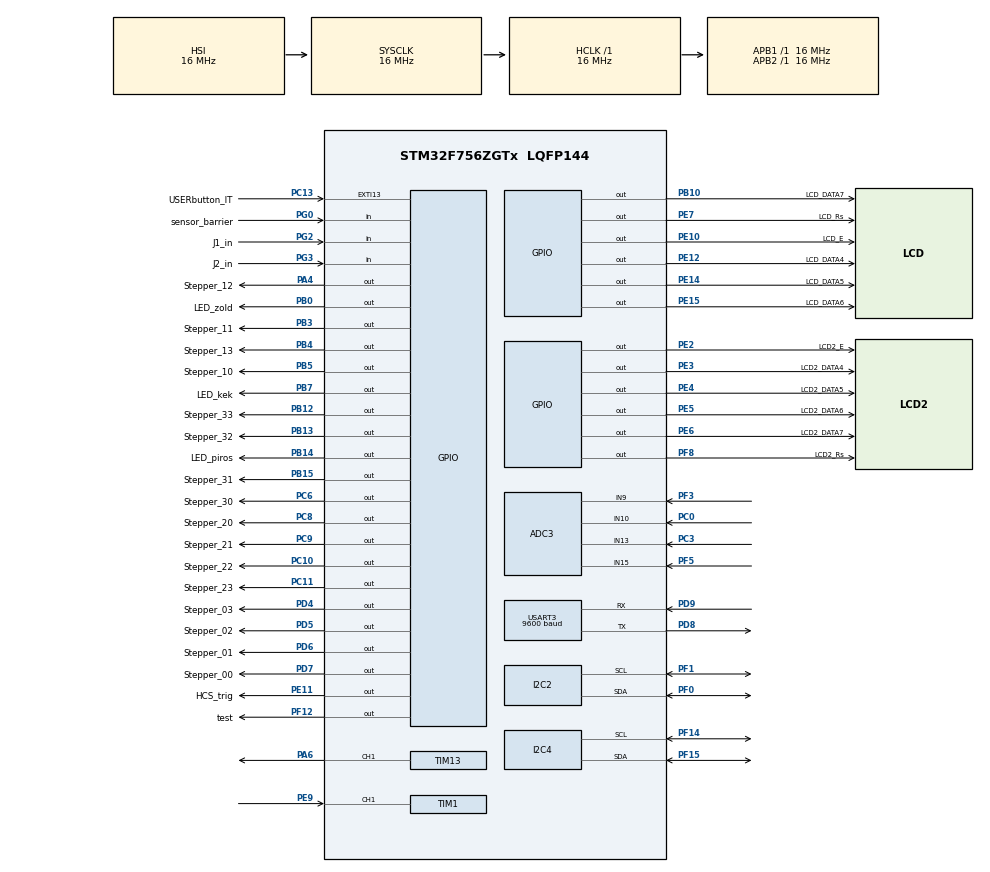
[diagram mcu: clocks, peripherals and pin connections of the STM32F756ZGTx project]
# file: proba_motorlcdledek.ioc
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ADC1.Channel-0\#ChannelRegularConversion=ADC_CHANNEL_TEMPSENSOR
ADC1.ClockPrescaler=ADC_CLOCK_SYNC_PCLK_DIV4
ADC1.ContinuousConvMode=DISABLE
ADC1.NbrOfConversion=1
ADC1.NbrOfConversionFlag=1
ADC1.Rank-0\#ChannelRegularConversion=1
ADC1.SamplingTime-0\#ChannelRegularConversion=ADC_SAMPLETIME_144CYCLES
ADC1.master=1
ADC3.Channel-30\#ChannelRegularConversion=ADC_CHANNEL_10
ADC3.Channel-31\#ChannelRegularConversion=ADC_CHANNEL_13
ADC3.Channel-32\#ChannelRegularConversion=ADC_CHANNEL_9
ADC3.Channel-33\#ChannelRegularConversion=ADC_CHANNEL_15
ADC3.ClockPrescaler=ADC_CLOCK_SYNC_PCLK_DIV4
ADC3.ContinuousConvMode=ENABLE
ADC3.DMAContinuousRequests=ENABLE
ADC3.NbrOfConversion=4
ADC3.NbrOfConversionFlag=1
ADC3.Rank-30\#ChannelRegularConversion=1
ADC3.Rank-31\#ChannelRegularConversion=2
ADC3.Rank-32\#ChannelRegularConversion=3
ADC3.Rank-33\#ChannelRegularConversion=4
ADC3.SamplingTime-30\#ChannelRegularConversion=ADC_SAMPLETIME_144CYCLES
ADC3.SamplingTime-31\#ChannelRegularConversion=ADC_SAMPLETIME_144CYCLES
ADC3.SamplingTime-32\#ChannelRegularConversion=ADC_SAMPLETIME_144CYCLES
ADC3.SamplingTime-33\#ChannelRegularConversion=ADC_SAMPLETIME_144CYCLES
ADC3.ScanConvMode=ADC_SCAN_ENABLE
Dma.ADC3.0.Direction=DMA_PERIPH_TO_MEMORY
Dma.ADC3.0.FIFOMode=DMA_FIFOMODE_DISABLE
Dma.ADC3.0.Instance=DMA2_Stream1
Dma.ADC3.0.MemDataAlignment=DMA_MDATAALIGN_WORD
Dma.ADC3.0.MemInc=DMA_MINC_ENABLE
Dma.ADC3.0.Mode=DMA_CIRCULAR
Dma.ADC3.0.PeriphDataAlignment=DMA_PDATAALIGN_WORD
Dma.ADC3.0.PeriphInc=DMA_PINC_DISABLE
Dma.ADC3.0.Priority=DMA_PRIORITY_LOW
Dma.Request0=ADC3
I2C2.Timing=0x00303D5B
I2C4.Timing=0x00303D5B
Mcu.Family=STM32F7
Mcu.Name=STM32F756ZGTx
Mcu.Package=LQFP144
NVIC.DMA2_Stream1_IRQn=true\:0\:0\:false\:false\:true\:false
NVIC.EXTI15_10_IRQn=true\:0\:0\:false\:false\:true\:true
NVIC.PriorityGroup=NVIC_PRIORITYGROUP_4
NVIC.TIM1_CC_IRQn=true\:0\:0\:false\:false\:true\:true
NVIC.TIM1_UP_TIM10_IRQn=true\:0\:0\:false\:false\:true\:true
NVIC.TIM2_IRQn=true\:0\:0\:false\:false\:true\:true
NVIC.TIM6_DAC_IRQn=true\:0\:0\:false\:false\:true\:true
NVIC.TIM7_IRQn=true\:0\:0\:false\:false\:true\:true
PA4.GPIO_Label=Stepper_12
PA4.GPIO_ModeDefaultOutputPP=GPIO_MODE_OUTPUT_OD
PA4.GPIO_PuPd=GPIO_PULLUP
PA4.Signal=GPIO_Output
PA6.Signal=S_TIM13_CH1
PB0.GPIO_Label=LED_zold
PB0.Signal=GPIO_Output
PB10.GPIO_Label=LCD_DATA7
PB10.Signal=GPIO_Output
PB12.GPIO_Label=Stepper_33
PB12.GPIO_ModeDefaultOutputPP=GPIO_MODE_OUTPUT_OD
PB12.GPIO_PuPd=GPIO_PULLUP
PB12.Signal=GPIO_Output
PB13.GPIO_Label=Stepper_32
PB13.GPIO_ModeDefaultOutputPP=GPIO_MODE_OUTPUT_OD
PB13.GPIO_PuPd=GPIO_PULLUP
PB13.Signal=GPIO_Output
PB14.GPIO_Label=LED_piros
PB14.Signal=GPIO_Output
PB15.GPIO_Label=Stepper_31
PB15.GPIO_ModeDefaultOutputPP=GPIO_MODE_OUTPUT_OD
PB15.GPIO_PuPd=GPIO_PULLUP
PB15.Signal=GPIO_Output
PB3.GPIO_Label=Stepper_11
PB3.GPIO_ModeDefaultOutputPP=GPIO_MODE_OUTPUT_OD
PB3.GPIO_PuPd=GPIO_PULLUP
PB3.Signal=GPIO_Output
PB4.GPIO_Label=Stepper_13
PB4.GPIO_ModeDefaultOutputPP=GPIO_MODE_OUTPUT_OD
PB4.GPIO_PuPd=GPIO_PULLUP
PB4.Signal=GPIO_Output
PB5.GPIO_Label=Stepper_10
PB5.GPIO_ModeDefaultOutputPP=GPIO_MODE_OUTPUT_OD
PB5.GPIO_PuPd=GPIO_PULLUP
PB5.Signal=GPIO_Output
PB7.GPIO_Label=LED_kek
PB7.Signal=GPIO_Output
PC0.Signal=ADCx_IN10
PC10.GPIO_Label=Stepper_22
PC10.GPIO_ModeDefaultOutputPP=GPIO_MODE_OUTPUT_OD
PC10.GPIO_PuPd=GPIO_PULLUP
PC10.Signal=GPIO_Output
PC11.GPIO_Label=Stepper_23
PC11.GPIO_ModeDefaultOutputPP=GPIO_MODE_OUTPUT_OD
PC11.GPIO_PuPd=GPIO_PULLUP
PC11.Signal=GPIO_Output
PC13.GPIO_Label=USERbutton_IT
PC13.Signal=GPXTI13
PC3.Signal=ADCx_IN13
PC6.GPIO_Label=Stepper_30
PC6.GPIO_ModeDefaultOutputPP=GPIO_MODE_OUTPUT_OD
PC6.GPIO_PuPd=GPIO_PULLUP
PC6.Signal=GPIO_Output
PC8.GPIO_Label=Stepper_20
PC8.GPIO_ModeDefaultOutputPP=GPIO_MODE_OUTPUT_OD
PC8.GPIO_PuPd=GPIO_PULLUP
PC8.Signal=GPIO_Output
PC9.GPIO_Label=Stepper_21
PC9.GPIO_ModeDefaultOutputPP=GPIO_MODE_OUTPUT_OD
PC9.GPIO_PuPd=GPIO_PULLUP
PC9.Signal=GPIO_Output
PD4.GPIO_Label=Stepper_03
PD4.GPIO_ModeDefaultOutputPP=GPIO_MODE_OUTPUT_OD
PD4.GPIO_PuPd=GPIO_PULLUP
PD4.Signal=GPIO_Output
PD5.GPIO_Label=Stepper_02
PD5.GPIO_ModeDefaultOutputPP=GPIO_MODE_OUTPUT_OD
PD5.GPIO_PuPd=GPIO_PULLUP
PD5.Signal=GPIO_Output
PD6.GPIO_Label=Stepper_01
PD6.GPIO_ModeDefaultOutputPP=GPIO_MODE_OUTPUT_OD
PD6.GPIO_PuPd=GPIO_PULLUP
PD6.Signal=GPIO_Output
PD7.GPIO_Label=Stepper_00
PD7.GPIO_ModeDefaultOutputPP=GPIO_MODE_OUTPUT_OD
PD7.GPIO_PuPd=GPIO_PULLUP
PD7.Signal=GPIO_Output
PD8.Mode=Asynchronous
PD8.Signal=USART3_TX
PD9.Mode=Asynchronous
PD9.Signal=USART3_RX
PE10.GPIO_Label=LCD_E
PE10.Signal=GPIO_Output
PE11.GPIO_Label=HCS_trig
PE11.Signal=GPIO_Output
PE12.GPIO_Label=LCD_DATA4
PE12.Signal=GPIO_Output
PE14.GPIO_Label=LCD_DATA5
PE14.Signal=GPIO_Output
PE15.GPIO_Label=LCD_DATA6
PE15.Signal=GPIO_Output
PE2.GPIO_Label=LCD2_E
PE2.Signal=GPIO_Output
PE3.GPIO_Label=LCD2_DATA4
PE3.Signal=GPIO_Output
PE4.GPIO_Label=LCD2_DATA5
PE4.Signal=GPIO_Output
PE5.GPIO_Label=LCD2_DATA6
PE5.Signal=GPIO_Output
PE6.GPIO_Label=LCD2_DATA7
PE6.Signal=GPIO_Output
PE7.GPIO_Label=LCD_Rs
PE7.Signal=GPIO_Output
PE9.Signal=S_TIM1_CH1
PF0.Mode=I2C
PF0.Signal=I2C2_SDA
PF1.Mode=I2C
PF1.Signal=I2C2_SCL
PF12.GPIO_Label=test
PF12.GPIO_ModeDefaultOutputPP=GPIO_MODE_OUTPUT_PP
PF12.GPIO_PuPd=GPIO_NOPULL
PF12.Signal=GPIO_Output
PF14.Mode=I2C
PF14.Signal=I2C4_SCL
PF15.Mode=I2C
PF15.Signal=I2C4_SDA
PF3.Mode=IN9
PF3.Signal=ADC3_IN9
PF5.Mode=IN15
PF5.Signal=ADC3_IN15
PF8.GPIO_Label=LCD2_Rs
PF8.Signal=GPIO_Output
PG0.GPIO_Label=sensor_barrier
PG0.Signal=GPIO_Input
PG2.GPIO_Label=J1_in
PG2.Signal=GPIO_Input
PG3.GPIO_Label=J2_in
PG3.Signal=GPIO_Input
ProjectManager.HeapSize=0x200
ProjectManager.StackSize=0x400
ProjectManager.TargetToolchain=TrueSTUDIO
RCC.AHBFreq_Value=16000000
RCC.APB1Freq_Value=16000000
RCC.APB1TimFreq_Value=16000000
RCC.APB2Freq_Value=16000000
RCC.APB2TimFreq_Value=16000000
RCC.CortexFreq_Value=16000000
RCC.HCLKFreq_Value=16000000
RCC.HSE_VALUE=25000000
RCC.HSI_VALUE=16000000
RCC.LSE_VALUE=32768
RCC.SYSCLKFreq_VALUE=16000000
RCC.USBFreq_Value=96000000
RCC.VCOOutputFreq_Value=192000000
SH.ADCx_IN10.0=ADC3_IN10,IN10
SH.ADCx_IN13.0=ADC3_IN13,IN13
SH.S_TIM13_CH1.0=TIM13_CH1,PWM Generation1 CH1
SH.S_TIM1_CH1.0=TIM1_CH1,Input_Capture1_from_TI1
TIM1.Channel-Input_Capture1_from_TI1=TIM_CHANNEL_1
TIM1.Period=0xFFFF-1
TIM1.Prescaler=16-1
TIM10.Period=99
TIM10.Prescaler=799
TIM13.Channel=TIM_CHANNEL_1
TIM13.Period=199
TIM13.Prescaler=1599
TIM2.Period=399
TIM2.Prescaler=39999
TIM6.Period=99
TIM6.Prescaler=1599
TIM7.Period=99
TIM7.Prescaler=799
USART3.BaudRate=9600
USART3.VirtualMode-Asynchronous=VM_ASYNC
VP_ADC1_TempSens_Input.Mode=IN-TempSens
VP_TIM10_VS_ClockSourceINT.Mode=Enable_Timer
VP_TIM13_VS_ClockSourceINT.Mode=Enable_Timer
VP_TIM2_VS_ClockSourceINT.Mode=Internal
VP_TIM6_VS_ClockSourceINT.Mode=Enable_Timer
VP_TIM7_VS_ClockSourceINT.Mode=Enable_Timer
board=custom

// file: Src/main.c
/* USER CODE BEGIN Header */
/**
  ******************************************************************************
  * @file           : main.c
  * @brief          : Main program body
  ******************************************************************************
  ** This notice applies to any and all portions of this file
  * that are not between comment pairs USER CODE BEGIN and
  * USER CODE END. Other portions of this file, whether
  * inserted by the user or by software development tools
  * are owned by their respective copyright owners.
  *
  * COPYRIGHT(c) 2020 STMicroelectronics
  *
  * Redistribution and use in source and binary forms, with or without modification,
  * are permitted provided that the following conditions are met:
  *   1. Redistributions of source code must retain the above copyright notice,
  *      this list of conditions and the following disclaimer.
  *   2. Redistributions in binary form must reproduce the above copyright notice,
  *      this list of conditions and the following disclaimer in the documentation
  *      and/or other materials provided with the distribution.
  *   3. Neither the name of STMicroelectronics nor the names of its contributors
  *      may be used to endorse or promote products derived from this software
  *      without specific prior written permission.
  *
  * THIS SOFTWARE IS PROVIDED BY THE COPYRIGHT HOLDERS AND CONTRIBUTORS "AS IS"
  * AND ANY EXPRESS OR IMPLIED WARRANTIES, INCLUDING, BUT NOT LIMITED TO, THE
  * IMPLIED WARRANTIES OF MERCHANTABILITY AND FITNESS FOR A PARTICULAR PURPOSE ARE
  * DISCLAIMED. IN NO EVENT SHALL THE COPYRIGHT HOLDER OR CONTRIBUTORS BE LIABLE
  * FOR ANY DIRECT, INDIRECT, INCIDENTAL, SPECIAL, EXEMPLARY, OR CONSEQUENTIAL
  * DAMAGES (INCLUDING, BUT NOT LIMITED TO, PROCUREMENT OF SUBSTITUTE GOODS OR
  * SERVICES; LOSS OF USE, DATA, OR PROFITS; OR BUSINESS INTERRUPTION) HOWEVER
  * CAUSED AND ON ANY THEORY OF LIABILITY, WHETHER IN CONTRACT, STRICT LIABILITY,
  * OR TORT (INCLUDING NEGLIGENCE OR OTHERWISE) ARISING IN ANY WAY OUT OF THE USE
  * OF THIS SOFTWARE, EVEN IF ADVISED OF THE POSSIBILITY OF SUCH DAMAGE.
  *
  ******************************************************************************
  */
/* USER CODE END Header */

#include "main.h"

ADC_HandleTypeDef hadc1;
ADC_HandleTypeDef hadc3;
DMA_HandleTypeDef hdma_adc3;

I2C_HandleTypeDef hi2c2;
I2C_HandleTypeDef hi2c4;

TIM_HandleTypeDef htim1;
TIM_HandleTypeDef htim2;
TIM_HandleTypeDef htim6;
TIM_HandleTypeDef htim7;
TIM_HandleTypeDef htim10;
TIM_HandleTypeDef htim13;

UART_HandleTypeDef huart3;

/* USER CODE BEGIN PV */
//uint32_t adc_data[2] = {0,0};
bool flag_00 = 0, flag_01 = 0, flag_02 = 0, flag_03 = 0, flag_04 = 0;
bool flag_10 = 0, flag_11 = 0, flag_12 = 0, flag_13 = 0, flag_14 = 0;
bool flag_20 = 0, flag_21 = 0, flag_22 = 0, flag_23 = 0, flag_24 = 0;
uint32_t adcdata[4] = {0,0,0,0};
/* USER CODE END PV */

void SystemClock_Config(void);
static void MX_GPIO_Init(void);
static void MX_DMA_Init(void);
static void MX_ADC1_Init(void);
static void MX_TIM2_Init(void);
static void MX_TIM13_Init(void);
static void MX_I2C2_Init(void);
static void MX_I2C4_Init(void);
static void MX_ADC3_Init(void);
static void MX_TIM6_Init(void);
static void MX_TIM7_Init(void);
static void MX_TIM10_Init(void);
static void MX_USART3_UART_Init(void);
static void MX_TIM1_Init(void);

/* USER CODE BEGIN 0 */

/*
void irany0(void);
void irany1(void);
*/
/* USER CODE END 0 */

int main(void)
{
  /* USER CODE BEGIN 1 */
	//uint8_t helo = 0;
	//uint8_t i = 20;
	uint32_t adc_mcutemp = 0;
	float mcutemp = 0;
	char buffer_mcutemp[10];
	float coordinate[3] = {0.0,0.0,0.0};

	char uart_buffer_tx[20] = "helo helo";
	char uartbuffer_x[10], uartbuffer_y[10], uartbuffer_z[10];
	//uint32_t adc_data_read[2] = {0,0};

  /* USER CODE END 1 */

  /* MCU Configuration--------------------------------------------------------*/

  /* Reset of all peripherals, Initializes the Flash interface and the Systick. */
  HAL_Init();

  /* Configure the system clock */
  SystemClock_Config();

  /* Initialize all configured peripherals */
  MX_GPIO_Init();
  MX_DMA_Init();
  MX_ADC1_Init();
  MX_TIM2_Init();
  MX_TIM13_Init();
  MX_I2C2_Init();
  MX_I2C4_Init();
  MX_ADC3_Init();
  MX_TIM6_Init();
  MX_TIM7_Init();
  MX_TIM10_Init();
  MX_USART3_UART_Init();
  MX_TIM1_Init();
  /* USER CODE BEGIN 2 */
  HAL_ADC_Start(&hadc1);
  HAL_ADC_Start_DMA(&hadc3,adcdata,4);
  LCD_init_customcurzor(1,0);
  LCD2_init_customcurzor2(1,0);

  HAL_TIM_Base_Start_IT(&htim2);
  HAL_TIM_Base_Start_IT(&htim6);
  HAL_TIM_Base_Start_IT(&htim7);
  HAL_TIM_Base_Start_IT(&htim10);

  HAL_TIM_PWM_Start(&htim13,TIM_CHANNEL_1);

  MPU6050_init();

  //HAL_Delay(500);

  //LCD_command(0x01);
 //LCD_string("na ez");

  LCD1_test();
  LCD2_test();

  LCD_goto(1,0);
  LCD_string("Joy1 ");
  LCD_goto(2,0);
  LCD_string("Joy2 ");

  HAL_UART_Transmit(&huart3,uart_buffer_tx,sizeof(uart_buffer_tx),1000);
  uart_newrow();
  /* USER CODE END 2 */

  /* Infinite loop */
  /* USER CODE BEGIN WHILE */
  while (1)
  {
	  __HAL_TIM_SetCompare(&htim13,TIM_CHANNEL_1,5);
	//irany1();
	// irany0();
	  /*
	  HAL_ADC_Start(&hadc1);
	 	  HAL_ADC_Start(&hadc3);
	 	  adc_data_read[0] = HAL_ADC_GetValue(&hadc1);
	 	  adc_data_read[1] = HAL_ADC_GetValue(&hadc3);
	  */
	  LCD_goto(1,6);
	  LCD_int(adcdata[0],sizeof(adcdata[0]));
	  LCD_goto(1,11);
	  LCD_int(adcdata[1],sizeof(adcdata[1]));
	  LCD_goto(2,6);
	  LCD_int(adcdata[2],sizeof(adcdata[2]));
  	  LCD_goto(2,11);
  	  LCD_int(adcdata[3],sizeof(adcdata[3]));

  	  adc_mcutemp = HAL_ADC_GetValue(&hadc1);
  	  mcutemp = ((((3.3/4096)*adc_mcutemp) - 0.76)/(2.5/1000)) + 25;
	  LCD2_goto2(1,0);
	  LCD2_string2("Servo: all");
	  LCD2_goto2(2,1);
	  ftoa(mcutemp,buffer_mcutemp,2);
	  LCD2_string2(buffer_mcutemp);

	  MPU_read_gyro(coordinate);
	  ftoa(coordinate[0],uartbuffer_x,4);
	  ftoa(coordinate[1],uartbuffer_y,4);
	  ftoa(coordinate[2],uartbuffer_z,4);

	  HAL_UART_Transmit(&huart3,"X coord.: ",sizeof("X coord.: "),1000);
	  HAL_UART_Transmit(&huart3,uartbuffer_x,sizeof(uartbuffer_x),1000);
	  HAL_UART_Transmit(&huart3,"\n\r",sizeof("\n\r"),1000);

	  HAL_UART_Transmit(&huart3,"Y coord.: ",sizeof("Y coord.: "),1000);
	  HAL_UART_Transmit(&huart3,uartbuffer_y,sizeof(uartbuffer_x),1000);
	  HAL_UART_Transmit(&huart3,"\n\r",sizeof("\n\r"),1000);

	  HAL_UART_Transmit(&huart3,"Z coord.: ",sizeof("Z coord.: "),1000);
	  HAL_UART_Transmit(&huart3,uartbuffer_z,sizeof(uartbuffer_x),1000);
	  HAL_UART_Transmit(&huart3,"\n\r",sizeof("\n\r"),1000);
	  uart_newrow();

	  if(HAL_GPIO_ReadPin(sensor_barrier_GPIO_Port,sensor_barrier_Pin) == 0){
		  LCD2_goto2(2,11);
		  LCD2_string2("megy");
	  }
	  else{
		  LCD2_goto2(2,11);
		  LCD2_string2("ment");
	  }
	  HAL_Delay(500);

	 // HAL_UART_Transmit(&huart3,uart_buffer_tx,sizeof(uart_buffer_tx),1000);
	 //__HAL_TIM_SetCompare(&htim13,TIM_CHANNEL_1,1);
	// HAL_Delay(1000);
	//__HAL_TIM_SetCompare(&htim13,TIM_CHANNEL_1,3);
	 //HAL_Delay(1000);
	 __HAL_TIM_SetCompare(&htim13,TIM_CHANNEL_1,5);
	  HAL_Delay(1000);
	 __HAL_TIM_SetCompare(&htim13,TIM_CHANNEL_1,25);
	  HAL_Delay(1000);
	// __HAL_TIM_SetCompare(&htim13,TIM_CHANNEL_1,15);
	// HAL_Delay(1000);
	// __HAL_TIM_SetCompare(&htim13,TIM_CHANNEL_1,0);
	// 	 HAL_Delay(1000);

	  /*
	  LCD_goto(1,5);
	  LCD_string("Helo");
	  LCD_goto(2,6);
	  LCD_string("belo");
*/
	  //HAL_Delay(1000);
	  //adc resz
	/*	  HAL_ADC_Start(&hadc1);
		  HAL_ADC_Start(&hadc3);
		  //LCD_command(0x01);
		  adc_data[0] = HAL_ADC_GetValue(&hadc1);
		  adc_data[1] = HAL_ADC_GetValue(&hadc3);

		  LCD_command(0x80);		//elso sor
		  LCD_int(adc_data[0],sizeof(adc_data[0]));

		  //LCD_string("akkor mehet");
		  LCD_command(0xC0);		//masodik sor
		  LCD_int(adc_data[1],sizeof(adc_data[1]));
		  HAL_Delay(2000);*/
/*
		 // LCD_string("talan?");
		  //LCD_data(adc_data[0]);

		  if(adc_data[0] >= 4000){	//elore
			  HAL_GPIO_WritePin(LED_piros_GPIO_Port,LED_piros_Pin,1);
			  HAL_GPIO_WritePin(LED_zold_GPIO_Port,LED_zold_Pin,0);
			  HAL_GPIO_WritePin(LED_kek_GPIO_Port,LED_kek_Pin,0);
		  }

		  if(adc_data[1] >= 4000){	//hatra
			  HAL_GPIO_WritePin(LED_piros_GPIO_Port,LED_piros_Pin,0);
			  HAL_GPIO_WritePin(LED_zold_GPIO_Port,LED_zold_Pin,1);
			  HAL_GPIO_WritePin(LED_kek_GPIO_Port,LED_kek_Pin,0);
		  }

		  if(adc_data[0] <= 800){		//jobbra
			  HAL_GPIO_WritePin(LED_piros_GPIO_Port,LED_piros_Pin,0);
			  HAL_GPIO_WritePin(LED_zold_GPIO_Port,LED_zold_Pin,0);
			  HAL_GPIO_WritePin(LED_kek_GPIO_Port,LED_kek_Pin,1);
		  }

		  if(adc_data[1] <= 800){		//jobbra
			  HAL_GPIO_WritePin(LED_piros_GPIO_Port,LED_piros_Pin,1);
			  HAL_GPIO_WritePin(LED_zold_GPIO_Port,LED_zold_Pin,1);
			  HAL_GPIO_WritePin(LED_kek_GPIO_Port,LED_kek_Pin,1);
		  }
		  if(adc_data[1] < 3200 && adc_data[1] > 3100 && adc_data[0] > 3100 && adc_data[0] < 3200){		//jobbra
			  HAL_GPIO_WritePin(LED_piros_GPIO_Port,LED_piros_Pin,0);
			  HAL_GPIO_WritePin(LED_zold_GPIO_Port,LED_zold_Pin,0);
			  HAL_GPIO_WritePin(LED_kek_GPIO_Port,LED_kek_Pin,0);
		  }

		 // HAL_Delay(1000);
		  if(adc_data[0] >= 4000){	//elore

			  }

			  if(adc_data[1] >= 4000){	//hatra

			  }

			  if(adc_data[0] <= 800){		//jobbra

			  }
			  if(adc_data[1] <= 800){		//jobbra

			  }

*/

    /* USER CODE END WHILE */

  }
}

void SystemClock_Config(void)
{
  RCC_OscInitTypeDef RCC_OscInitStruct = {0};
  RCC_ClkInitTypeDef RCC_ClkInitStruct = {0};
  RCC_PeriphCLKInitTypeDef PeriphClkInitStruct = {0};

  /**Configure the main internal regulator output voltage
  */
  __HAL_RCC_PWR_CLK_ENABLE();
  __HAL_PWR_VOLTAGESCALING_CONFIG(PWR_REGULATOR_VOLTAGE_SCALE3);
  /**Initializes the CPU, AHB and APB busses clocks
  */
  RCC_OscInitStruct.OscillatorType = RCC_OSCILLATORTYPE_HSI;
  RCC_OscInitStruct.HSIState = RCC_HSI_ON;
  RCC_OscInitStruct.HSICalibrationValue = RCC_HSICALIBRATION_DEFAULT;
  RCC_OscInitStruct.PLL.PLLState = RCC_PLL_NONE;
  if (HAL_RCC_OscConfig(&RCC_OscInitStruct) != HAL_OK)
  {
    Error_Handler();
  }
  /**Initializes the CPU, AHB and APB busses clocks
  */
  RCC_ClkInitStruct.ClockType = RCC_CLOCKTYPE_HCLK|RCC_CLOCKTYPE_SYSCLK
                              |RCC_CLOCKTYPE_PCLK1|RCC_CLOCKTYPE_PCLK2;
  RCC_ClkInitStruct.SYSCLKSource = RCC_SYSCLKSOURCE_HSI;
  RCC_ClkInitStruct.AHBCLKDivider = RCC_SYSCLK_DIV1;
  RCC_ClkInitStruct.APB1CLKDivider = RCC_HCLK_DIV1;
  RCC_ClkInitStruct.APB2CLKDivider = RCC_HCLK_DIV1;

  if (HAL_RCC_ClockConfig(&RCC_ClkInitStruct, FLASH_LATENCY_0) != HAL_OK)
  {
    Error_Handler();
  }
  PeriphClkInitStruct.PeriphClockSelection = RCC_PERIPHCLK_USART3|RCC_PERIPHCLK_I2C2
                              |RCC_PERIPHCLK_I2C4;
  PeriphClkInitStruct.Usart3ClockSelection = RCC_USART3CLKSOURCE_PCLK1;
  PeriphClkInitStruct.I2c2ClockSelection = RCC_I2C2CLKSOURCE_PCLK1;
  PeriphClkInitStruct.I2c4ClockSelection = RCC_I2C4CLKSOURCE_PCLK1;
  if (HAL_RCCEx_PeriphCLKConfig(&PeriphClkInitStruct) != HAL_OK)
  {
    Error_Handler();
  }
}

static void MX_ADC1_Init(void)
{

  ADC_ChannelConfTypeDef sConfig = {0};

  /**Configure the global features of the ADC (Clock, Resolution, Data Alignment and number of conversion)
  */
  hadc1.Instance = ADC1;
  hadc1.Init.ClockPrescaler = ADC_CLOCK_SYNC_PCLK_DIV4;
  hadc1.Init.Resolution = ADC_RESOLUTION_12B;
  hadc1.Init.ScanConvMode = ADC_SCAN_DISABLE;
  hadc1.Init.ContinuousConvMode = DISABLE;
  hadc1.Init.DiscontinuousConvMode = DISABLE;
  hadc1.Init.ExternalTrigConvEdge = ADC_EXTERNALTRIGCONVEDGE_NONE;
  hadc1.Init.ExternalTrigConv = ADC_SOFTWARE_START;
  hadc1.Init.DataAlign = ADC_DATAALIGN_RIGHT;
  hadc1.Init.NbrOfConversion = 1;
  hadc1.Init.DMAContinuousRequests = DISABLE;
  hadc1.Init.EOCSelection = ADC_EOC_SINGLE_CONV;
  if (HAL_ADC_Init(&hadc1) != HAL_OK)
  {
    Error_Handler();
  }
  /**Configure for the selected ADC regular channel its corresponding rank in the sequencer and its sample time.
  */
  sConfig.Channel = ADC_CHANNEL_TEMPSENSOR;
  sConfig.Rank = ADC_REGULAR_RANK_1;
  sConfig.SamplingTime = ADC_SAMPLETIME_144CYCLES;
  if (HAL_ADC_ConfigChannel(&hadc1, &sConfig) != HAL_OK)
  {
    Error_Handler();
  }

}

static void MX_ADC3_Init(void)
{

  ADC_ChannelConfTypeDef sConfig = {0};

  /**Configure the global features of the ADC (Clock, Resolution, Data Alignment and number of conversion)
  */
  hadc3.Instance = ADC3;
  hadc3.Init.ClockPrescaler = ADC_CLOCK_SYNC_PCLK_DIV4;
  hadc3.Init.Resolution = ADC_RESOLUTION_12B;
  hadc3.Init.ScanConvMode = ADC_SCAN_ENABLE;
  hadc3.Init.ContinuousConvMode = ENABLE;
  hadc3.Init.DiscontinuousConvMode = DISABLE;
  hadc3.Init.ExternalTrigConvEdge = ADC_EXTERNALTRIGCONVEDGE_NONE;
  hadc3.Init.ExternalTrigConv = ADC_SOFTWARE_START;
  hadc3.Init.DataAlign = ADC_DATAALIGN_RIGHT;
  hadc3.Init.NbrOfConversion = 4;
  hadc3.Init.DMAContinuousRequests = ENABLE;
  hadc3.Init.EOCSelection = ADC_EOC_SINGLE_CONV;
  if (HAL_ADC_Init(&hadc3) != HAL_OK)
  {
    Error_Handler();
  }
  /**Configure for the selected ADC regular channel its corresponding rank in the sequencer and its sample time.
  */
  sConfig.Channel = ADC_CHANNEL_10;
  sConfig.Rank = ADC_REGULAR_RANK_1;
  sConfig.SamplingTime = ADC_SAMPLETIME_144CYCLES;
  if (HAL_ADC_ConfigChannel(&hadc3, &sConfig) != HAL_OK)
  {
    Error_Handler();
  }
  /**Configure for the selected ADC regular channel its corresponding rank in the sequencer and its sample time.
  */
  sConfig.Channel = ADC_CHANNEL_13;
  sConfig.Rank = ADC_REGULAR_RANK_2;
  if (HAL_ADC_ConfigChannel(&hadc3, &sConfig) != HAL_OK)
  {
    Error_Handler();
  }
  /**Configure for the selected ADC regular channel its corresponding rank in the sequencer and its sample time.
  */
  sConfig.Channel = ADC_CHANNEL_9;
  sConfig.Rank = ADC_REGULAR_RANK_3;
  if (HAL_ADC_ConfigChannel(&hadc3, &sConfig) != HAL_OK)
  {
    Error_Handler();
  }
  /**Configure for the selected ADC regular channel its corresponding rank in the sequencer and its sample time.
  */
  sConfig.Channel = ADC_CHANNEL_15;
  sConfig.Rank = ADC_REGULAR_RANK_4;
  if (HAL_ADC_ConfigChannel(&hadc3, &sConfig) != HAL_OK)
  {
    Error_Handler();
  }

}

static void MX_I2C2_Init(void)
{

  hi2c2.Instance = I2C2;
  hi2c2.Init.Timing = 0x00303D5B;
  hi2c2.Init.OwnAddress1 = 0;
  hi2c2.Init.AddressingMode = I2C_ADDRESSINGMODE_7BIT;
  hi2c2.Init.DualAddressMode = I2C_DUALADDRESS_DISABLE;
  hi2c2.Init.OwnAddress2 = 0;
  hi2c2.Init.OwnAddress2Masks = I2C_OA2_NOMASK;
  hi2c2.Init.GeneralCallMode = I2C_GENERALCALL_DISABLE;
  hi2c2.Init.NoStretchMode = I2C_NOSTRETCH_DISABLE;
  if (HAL_I2C_Init(&hi2c2) != HAL_OK)
  {
    Error_Handler();
  }
  /**Configure Analogue filter
  */
  if (HAL_I2CEx_ConfigAnalogFilter(&hi2c2, I2C_ANALOGFILTER_ENABLE) != HAL_OK)
  {
    Error_Handler();
  }
  /**Configure Digital filter
  */
  if (HAL_I2CEx_ConfigDigitalFilter(&hi2c2, 0) != HAL_OK)
  {
    Error_Handler();
  }

}

static void MX_I2C4_Init(void)
{

  hi2c4.Instance = I2C4;
  hi2c4.Init.Timing = 0x00303D5B;
  hi2c4.Init.OwnAddress1 = 0;
  hi2c4.Init.AddressingMode = I2C_ADDRESSINGMODE_7BIT;
  hi2c4.Init.DualAddressMode = I2C_DUALADDRESS_DISABLE;
  hi2c4.Init.OwnAddress2 = 0;
  hi2c4.Init.OwnAddress2Masks = I2C_OA2_NOMASK;
  hi2c4.Init.GeneralCallMode = I2C_GENERALCALL_DISABLE;
  hi2c4.Init.NoStretchMode = I2C_NOSTRETCH_DISABLE;
  if (HAL_I2C_Init(&hi2c4) != HAL_OK)
  {
    Error_Handler();
  }
  /**Configure Analogue filter
  */
  if (HAL_I2CEx_ConfigAnalogFilter(&hi2c4, I2C_ANALOGFILTER_ENABLE) != HAL_OK)
  {
    Error_Handler();
  }
  /**Configure Digital filter
  */
  if (HAL_I2CEx_ConfigDigitalFilter(&hi2c4, 0) != HAL_OK)
  {
    Error_Handler();
  }

}

static void MX_TIM1_Init(void)
{

  TIM_MasterConfigTypeDef sMasterConfig = {0};
  TIM_IC_InitTypeDef sConfigIC = {0};

  htim1.Instance = TIM1;
  htim1.Init.Prescaler = 16-1;
  htim1.Init.CounterMode = TIM_COUNTERMODE_UP;
  htim1.Init.Period = 0xFFFF-1;
  htim1.Init.ClockDivision = TIM_CLOCKDIVISION_DIV1;
  htim1.Init.RepetitionCounter = 0;
  htim1.Init.AutoReloadPreload = TIM_AUTORELOAD_PRELOAD_DISABLE;
  if (HAL_TIM_IC_Init(&htim1) != HAL_OK)
  {
    Error_Handler();
  }
  sMasterConfig.MasterOutputTrigger = TIM_TRGO_RESET;
  sMasterConfig.MasterOutputTrigger2 = TIM_TRGO2_RESET;
  sMasterConfig.MasterSlaveMode = TIM_MASTERSLAVEMODE_DISABLE;
  if (HAL_TIMEx_MasterConfigSynchronization(&htim1, &sMasterConfig) != HAL_OK)
  {
    Error_Handler();
  }
  sConfigIC.ICPolarity = TIM_INPUTCHANNELPOLARITY_RISING;
  sConfigIC.ICSelection = TIM_ICSELECTION_DIRECTTI;
  sConfigIC.ICPrescaler = TIM_ICPSC_DIV1;
  sConfigIC.ICFilter = 0;
  if (HAL_TIM_IC_ConfigChannel(&htim1, &sConfigIC, TIM_CHANNEL_1) != HAL_OK)
  {
    Error_Handler();
  }

}

static void MX_TIM2_Init(void)
{

  TIM_ClockConfigTypeDef sClockSourceConfig = {0};
  TIM_MasterConfigTypeDef sMasterConfig = {0};

  htim2.Instance = TIM2;
  htim2.Init.Prescaler = 39999;
  htim2.Init.CounterMode = TIM_COUNTERMODE_UP;
  htim2.Init.Period = 399;
  htim2.Init.ClockDivision = TIM_CLOCKDIVISION_DIV1;
  htim2.Init.AutoReloadPreload = TIM_AUTORELOAD_PRELOAD_DISABLE;
  if (HAL_TIM_Base_Init(&htim2) != HAL_OK)
  {
    Error_Handler();
  }
  sClockSourceConfig.ClockSource = TIM_CLOCKSOURCE_INTERNAL;
  if (HAL_TIM_ConfigClockSource(&htim2, &sClockSourceConfig) != HAL_OK)
  {
    Error_Handler();
  }
  sMasterConfig.MasterOutputTrigger = TIM_TRGO_RESET;
  sMasterConfig.MasterSlaveMode = TIM_MASTERSLAVEMODE_DISABLE;
  if (HAL_TIMEx_MasterConfigSynchronization(&htim2, &sMasterConfig) != HAL_OK)
  {
    Error_Handler();
  }

}

static void MX_TIM6_Init(void)
{

  TIM_MasterConfigTypeDef sMasterConfig = {0};

  htim6.Instance = TIM6;
  htim6.Init.Prescaler = 1599;
  htim6.Init.CounterMode = TIM_COUNTERMODE_UP;
  htim6.Init.Period = 99;
  htim6.Init.AutoReloadPreload = TIM_AUTORELOAD_PRELOAD_DISABLE;
  if (HAL_TIM_Base_Init(&htim6) != HAL_OK)
  {
    Error_Handler();
  }
  sMasterConfig.MasterOutputTrigger = TIM_TRGO_RESET;
  sMasterConfig.MasterSlaveMode = TIM_MASTERSLAVEMODE_DISABLE;
  if (HAL_TIMEx_MasterConfigSynchronization(&htim6, &sMasterConfig) != HAL_OK)
  {
    Error_Handler();
  }

}

static void MX_TIM7_Init(void)
{

  TIM_MasterConfigTypeDef sMasterConfig = {0};

  htim7.Instance = TIM7;
  htim7.Init.Prescaler = 799;
  htim7.Init.CounterMode = TIM_COUNTERMODE_UP;
  htim7.Init.Period = 99;
  htim7.Init.AutoReloadPreload = TIM_AUTORELOAD_PRELOAD_DISABLE;
  if (HAL_TIM_Base_Init(&htim7) != HAL_OK)
  {
    Error_Handler();
  }
  sMasterConfig.MasterOutputTrigger = TIM_TRGO_RESET;
  sMasterConfig.MasterSlaveMode = TIM_MASTERSLAVEMODE_DISABLE;
  if (HAL_TIMEx_MasterConfigSynchronization(&htim7, &sMasterConfig) != HAL_OK)
  {
    Error_Handler();
  }

}

static void MX_TIM10_Init(void)
{

  htim10.Instance = TIM10;
  htim10.Init.Prescaler = 799;
  htim10.Init.CounterMode = TIM_COUNTERMODE_UP;
  htim10.Init.Period = 99;
  htim10.Init.ClockDivision = TIM_CLOCKDIVISION_DIV1;
  htim10.Init.AutoReloadPreload = TIM_AUTORELOAD_PRELOAD_DISABLE;
  if (HAL_TIM_Base_Init(&htim10) != HAL_OK)
  {
    Error_Handler();
  }

}

static void MX_TIM13_Init(void)
{

  TIM_OC_InitTypeDef sConfigOC = {0};

  htim13.Instance = TIM13;
  htim13.Init.Prescaler = 1599;
  htim13.Init.CounterMode = TIM_COUNTERMODE_UP;
  htim13.Init.Period = 199;
  htim13.Init.ClockDivision = TIM_CLOCKDIVISION_DIV1;
  htim13.Init.AutoReloadPreload = TIM_AUTORELOAD_PRELOAD_DISABLE;
  if (HAL_TIM_Base_Init(&htim13) != HAL_OK)
  {
    Error_Handler();
  }
  if (HAL_TIM_PWM_Init(&htim13) != HAL_OK)
  {
    Error_Handler();
  }
  sConfigOC.OCMode = TIM_OCMODE_PWM1;
  sConfigOC.Pulse = 0;
  sConfigOC.OCPolarity = TIM_OCPOLARITY_HIGH;
  sConfigOC.OCFastMode = TIM_OCFAST_DISABLE;
  if (HAL_TIM_PWM_ConfigChannel(&htim13, &sConfigOC, TIM_CHANNEL_1) != HAL_OK)
  {
    Error_Handler();
  }
  HAL_TIM_MspPostInit(&htim13);

}

static void MX_USART3_UART_Init(void)
{

  huart3.Instance = USART3;
  huart3.Init.BaudRate = 9600;
  huart3.Init.WordLength = UART_WORDLENGTH_8B;
  huart3.Init.StopBits = UART_STOPBITS_1;
  huart3.Init.Parity = UART_PARITY_NONE;
  huart3.Init.Mode = UART_MODE_TX_RX;
  huart3.Init.HwFlowCtl = UART_HWCONTROL_NONE;
  huart3.Init.OverSampling = UART_OVERSAMPLING_16;
  huart3.Init.OneBitSampling = UART_ONE_BIT_SAMPLE_DISABLE;
  huart3.AdvancedInit.AdvFeatureInit = UART_ADVFEATURE_NO_INIT;
  if (HAL_UART_Init(&huart3) != HAL_OK)
  {
    Error_Handler();
  }

}

static void MX_DMA_Init(void)
{
  /* DMA controller clock enable */
  __HAL_RCC_DMA2_CLK_ENABLE();

  /* DMA interrupt init */
  /* DMA2_Stream1_IRQn interrupt configuration */
  HAL_NVIC_SetPriority(DMA2_Stream1_IRQn, 0, 0);
  HAL_NVIC_EnableIRQ(DMA2_Stream1_IRQn);

}

static void MX_GPIO_Init(void)
{
  GPIO_InitTypeDef GPIO_InitStruct = {0};

  /* GPIO Ports Clock Enable */
  __HAL_RCC_GPIOE_CLK_ENABLE();
  __HAL_RCC_GPIOC_CLK_ENABLE();
  __HAL_RCC_GPIOF_CLK_ENABLE();
  __HAL_RCC_GPIOA_CLK_ENABLE();
  __HAL_RCC_GPIOB_CLK_ENABLE();
  __HAL_RCC_GPIOG_CLK_ENABLE();
  __HAL_RCC_GPIOD_CLK_ENABLE();

  /*Configure GPIO pin Output Level */
  HAL_GPIO_WritePin(GPIOE, LCD2_E_Pin|LCD2_DATA4_Pin|LCD2_DATA5_Pin|LCD2_DATA6_Pin
                          |LCD2_DATA7_Pin|LCD_Rs_Pin|LCD_E_Pin|HCS_trig_Pin
                          |LCD_DATA4_Pin|LCD_DATA5_Pin|LCD_DATA6_Pin, GPIO_PIN_RESET);

  /*Configure GPIO pin Output Level */
  HAL_GPIO_WritePin(GPIOF, LCD2_Rs_Pin|test_Pin, GPIO_PIN_RESET);

  /*Configure GPIO pin Output Level */
  HAL_GPIO_WritePin(Stepper_12_GPIO_Port, Stepper_12_Pin, GPIO_PIN_RESET);

  /*Configure GPIO pin Output Level */
  HAL_GPIO_WritePin(GPIOB, LED_zold_Pin|LCD_DATA7_Pin|Stepper_33_Pin|Stepper_32_Pin
                          |LED_piros_Pin|Stepper_31_Pin|Stepper_11_Pin|Stepper_13_Pin
                          |Stepper_10_Pin|LED_kek_Pin, GPIO_PIN_RESET);

  /*Configure GPIO pin Output Level */
  HAL_GPIO_WritePin(GPIOC, Stepper_30_Pin|Stepper_20_Pin|Stepper_21_Pin|Stepper_22_Pin
                          |Stepper_23_Pin, GPIO_PIN_RESET);

  /*Configure GPIO pin Output Level */
  HAL_GPIO_WritePin(GPIOD, Stepper_03_Pin|Stepper_02_Pin|Stepper_01_Pin|Stepper_00_Pin, GPIO_PIN_RESET);

  /*Configure GPIO pins : LCD2_E_Pin LCD2_DATA4_Pin LCD2_DATA5_Pin LCD2_DATA6_Pin
                           LCD2_DATA7_Pin LCD_Rs_Pin LCD_E_Pin HCS_trig_Pin
                           LCD_DATA4_Pin LCD_DATA5_Pin LCD_DATA6_Pin */
  GPIO_InitStruct.Pin = LCD2_E_Pin|LCD2_DATA4_Pin|LCD2_DATA5_Pin|LCD2_DATA6_Pin
                          |LCD2_DATA7_Pin|LCD_Rs_Pin|LCD_E_Pin|HCS_trig_Pin
                          |LCD_DATA4_Pin|LCD_DATA5_Pin|LCD_DATA6_Pin;
  GPIO_InitStruct.Mode = GPIO_MODE_OUTPUT_PP;
  GPIO_InitStruct.Pull = GPIO_NOPULL;
  GPIO_InitStruct.Speed = GPIO_SPEED_FREQ_LOW;
  HAL_GPIO_Init(GPIOE, &GPIO_InitStruct);

  /*Configure GPIO pin : USERbutton_IT_Pin */
  GPIO_InitStruct.Pin = USERbutton_IT_Pin;
  GPIO_InitStruct.Mode = GPIO_MODE_IT_RISING;
  GPIO_InitStruct.Pull = GPIO_NOPULL;
  HAL_GPIO_Init(USERbutton_IT_GPIO_Port, &GPIO_InitStruct);

  /*Configure GPIO pins : LCD2_Rs_Pin test_Pin */
  GPIO_InitStruct.Pin = LCD2_Rs_Pin|test_Pin;
  GPIO_InitStruct.Mode = GPIO_MODE_OUTPUT_PP;
  GPIO_InitStruct.Pull = GPIO_NOPULL;
  GPIO_InitStruct.Speed = GPIO_SPEED_FREQ_LOW;
  HAL_GPIO_Init(GPIOF, &GPIO_InitStruct);

  /*Configure GPIO pin : Stepper_12_Pin */
  GPIO_InitStruct.Pin = Stepper_12_Pin;
  GPIO_InitStruct.Mode = GPIO_MODE_OUTPUT_OD;
  GPIO_InitStruct.Pull = GPIO_PULLUP;
  GPIO_InitStruct.Speed = GPIO_SPEED_FREQ_LOW;
  HAL_GPIO_Init(Stepper_12_GPIO_Port, &GPIO_InitStruct);

  /*Configure GPIO pins : LED_zold_Pin LCD_DATA7_Pin LED_piros_Pin LED_kek_Pin */
  GPIO_InitStruct.Pin = LED_zold_Pin|LCD_DATA7_Pin|LED_piros_Pin|LED_kek_Pin;
  GPIO_InitStruct.Mode = GPIO_MODE_OUTPUT_PP;
  GPIO_InitStruct.Pull = GPIO_NOPULL;
  GPIO_InitStruct.Speed = GPIO_SPEED_FREQ_LOW;
  HAL_GPIO_Init(GPIOB, &GPIO_InitStruct);

  /*Configure GPIO pins : sensor_barrier_Pin J1_in_Pin J2_in_Pin */
  GPIO_InitStruct.Pin = sensor_barrier_Pin|J1_in_Pin|J2_in_Pin;
  GPIO_InitStruct.Mode = GPIO_MODE_INPUT;
  GPIO_InitStruct.Pull = GPIO_NOPULL;
  HAL_GPIO_Init(GPIOG, &GPIO_InitStruct);

  /*Configure GPIO pins : Stepper_33_Pin Stepper_32_Pin Stepper_31_Pin Stepper_11_Pin
                           Stepper_13_Pin Stepper_10_Pin */
  GPIO_InitStruct.Pin = Stepper_33_Pin|Stepper_32_Pin|Stepper_31_Pin|Stepper_11_Pin
                          |Stepper_13_Pin|Stepper_10_Pin;
  GPIO_InitStruct.Mode = GPIO_MODE_OUTPUT_OD;
  GPIO_InitStruct.Pull = GPIO_PULLUP;
  GPIO_InitStruct.Speed = GPIO_SPEED_FREQ_LOW;
  HAL_GPIO_Init(GPIOB, &GPIO_InitStruct);

  /*Configure GPIO pins : Stepper_30_Pin Stepper_20_Pin Stepper_21_Pin Stepper_22_Pin
                           Stepper_23_Pin */
  GPIO_InitStruct.Pin = Stepper_30_Pin|Stepper_20_Pin|Stepper_21_Pin|Stepper_22_Pin
                          |Stepper_23_Pin;
  GPIO_InitStruct.Mode = GPIO_MODE_OUTPUT_OD;
  GPIO_InitStruct.Pull = GPIO_PULLUP;
  GPIO_InitStruct.Speed = GPIO_SPEED_FREQ_LOW;
  HAL_GPIO_Init(GPIOC, &GPIO_InitStruct);

  /*Configure GPIO pins : Stepper_03_Pin Stepper_02_Pin Stepper_01_Pin Stepper_00_Pin */
  GPIO_InitStruct.Pin = Stepper_03_Pin|Stepper_02_Pin|Stepper_01_Pin|Stepper_00_Pin;
  GPIO_InitStruct.Mode = GPIO_MODE_OUTPUT_OD;
  GPIO_InitStruct.Pull = GPIO_PULLUP;
  GPIO_InitStruct.Speed = GPIO_SPEED_FREQ_LOW;
  HAL_GPIO_Init(GPIOD, &GPIO_InitStruct);

  /* EXTI interrupt init*/
  HAL_NVIC_SetPriority(EXTI15_10_IRQn, 0, 0);
  HAL_NVIC_EnableIRQ(EXTI15_10_IRQn);

}

/* USER CODE BEGIN 4 */

void HAL_TIM_PeriodElapsedCallback(TIM_HandleTypeDef *htim){
	if(htim -> Instance == TIM2){
		HAL_GPIO_TogglePin(LED_piros_GPIO_Port,LED_piros_Pin);
	}

	if(htim -> Instance == TIM6){
		if(adcdata[2] <= 7000 && adcdata[2] >= 3000){
			flag_00 = 0;
			if(flag_00 == 0 && flag_01 == 0){
					allit_00();
					allit_10();
					flag_01 = 1;
					flag_00 = 1;
			}
			else
				if(flag_00 == 0 && flag_02 == 0){
					allit_01();
					allit_11();
					flag_02 = 1;
					flag_00 = 1;
				}
				else
					if(flag_00 == 0 && flag_03 == 0){
						allit_02();
						allit_12();
						flag_03 = 1;
						flag_00 = 1;
					}
					else
						if(flag_00 == 0){
							allit_03();
							allit_13();
							flag_01 = 0;
							flag_02 = 0;
							flag_03 = 0;
						}
		}
		if(adcdata[2] <= 1500){
			flag_00 = 0;
			if(flag_00 == 0 && flag_01 == 0){
					allit_03();
					allit_13();
					flag_01 = 1;
					flag_00 = 1;
			}
			else
				if(flag_00 == 0 && flag_02 == 0){
					allit_02();
					allit_12();
					flag_02 = 1;
					flag_00 = 1;
				}
				else
					if(flag_00 == 0 && flag_03 == 0){
						allit_01();
						allit_11();
						flag_03 = 1;
						flag_00 = 1;
					}
					else
						if(flag_00 == 0){
							allit_00();
							allit_10();
							flag_01 = 0;
							flag_02 = 0;
							flag_03 = 0;
						}
		}
	}

	if(htim -> Instance == TIM7){
		if(adcdata[3] <= 7000 && adcdata[3] >= 3000){
			flag_10 = 0;
			if(flag_10 == 0 && flag_11 == 0){
					allit_20();
					flag_11 = 1;
					flag_10 = 1;
			}
			else
				if(flag_10 == 0 && flag_12 == 0){
					allit_21();
					flag_12 = 1;
					flag_10 = 1;
				}
				else
					if(flag_10 == 0 && flag_13 == 0){
						allit_22();
						flag_13 = 1;
						flag_10 = 1;
					}
					else
						if(flag_10 == 0){
							allit_23();
							flag_11 = 0;
							flag_12 = 0;
							flag_13 = 0;
						}
		}
		if(adcdata[3] <= 1500){
			flag_10 = 0;
			if(flag_10 == 0 && flag_11 == 0){
				allit_23();
				flag_11 = 1;
				flag_10 = 1;
			}
			else
				if(flag_10 == 0 && flag_12 == 0){
					allit_22();
					flag_12 = 1;
					flag_10 = 1;
				}
				else
					if(flag_10 == 0 && flag_13 == 0){
						allit_21();
						flag_13 = 1;
						flag_10 = 1;
					}
					else
						if(flag_10 == 0){
							allit_20();
							flag_11 = 0;
							flag_12 = 0;
							flag_13 = 0;
						}
		}
	}

	if(htim -> Instance == TIM10){
		if(adcdata[0] <= 7000 && adcdata[0] >= 3000){
			flag_20 = 0;
			if(flag_20 == 0 && flag_21 == 0){
				//allit_10();
				flag_21 = 1;
				flag_20 = 1;
			}
			else
				if(flag_20 == 0 && flag_22 == 0){
					//allit_11();
					flag_22 = 1;
					flag_20 = 1;
				}
				else
					if(flag_20 == 0 && flag_23 == 0){
						//allit_12();
						flag_23 = 1;
						flag_20 = 1;
					}
					else
						if(flag_20 == 0){
							//allit_13();
							flag_21 = 0;
							flag_22 = 0;
							flag_23 = 0;
						}
		}
		if(adcdata[0] <= 1500){
			flag_20 = 0;
			if(flag_20 == 0 && flag_21 == 0){
				//allit_13();
				flag_21 = 1;
				flag_20 = 1;
			}
			else
				if(flag_20 == 0 && flag_22 == 0){
					//allit_12();
					flag_22 = 1;
					flag_20 = 1;
				}
				else
					if(flag_20 == 0 && flag_23 == 0){
						//allit_11();
						flag_23 = 1;
						flag_20 = 1;
					}
					else
						if(flag_20 == 0){
							//allit_10();
							flag_21 = 0;
							flag_22 = 0;
							flag_23 = 0;
						}
		}
	}
}
/* USER CODE END 4 */

void Error_Handler(void)
{
}

/************************ (C) COPYRIGHT STMicroelectronics *****END OF FILE****/
